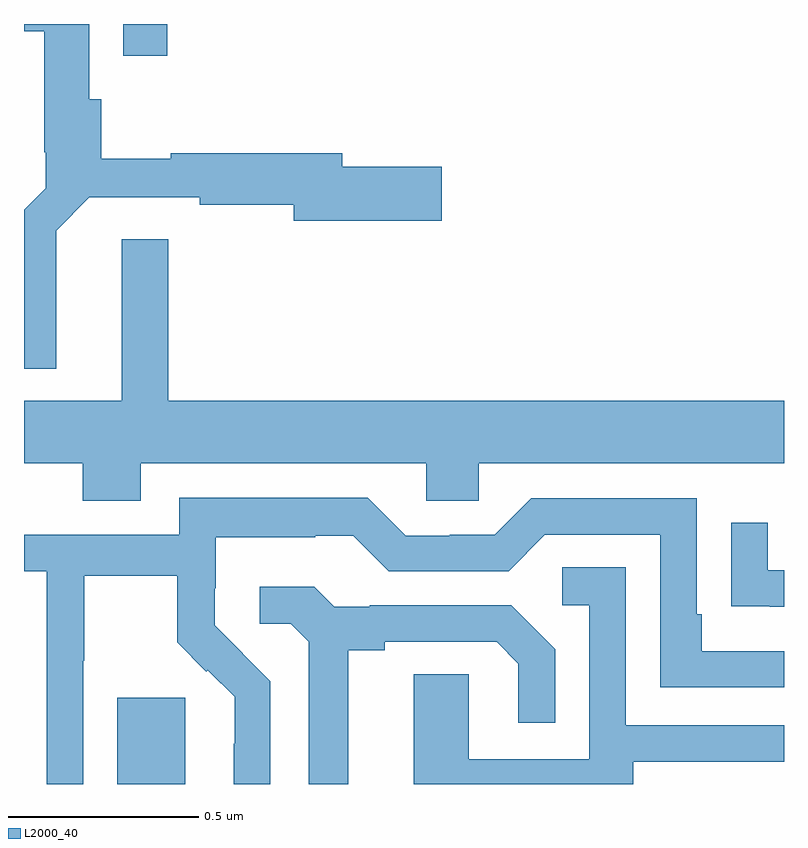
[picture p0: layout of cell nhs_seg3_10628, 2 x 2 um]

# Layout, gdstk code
import gdstk
lib = gdstk.Library(unit=1e-6, precision=1e-09)
def R(c, l, rs):  # rectangles x0, y0, x1, y1
    for r in rs: c.add(gdstk.rectangle(r[:2], r[2:], *l))
def P(c, l, *ps):  # polygons
    for p in ps: c.add(gdstk.Polygon(p, *l))
L2000_40 = (2000, 40)

nhs_seg3_10628 = lib.new_cell('nhs_seg3_10628')
R(nhs_seg3_10628, L2000_40, [(243.245,705.4,243.424,705.627), (243.261,707.316,243.377,707.4)])
P(nhs_seg3_10628, L2000_40, [(243.085,706.856),(243.172,706.944),(243.463,706.944),(243.463,706.924),(243.71,706.924),(243.71,706.882),(244.099,706.882),(244.099,707.024),(243.838,707.024),(243.838,707.06),(243.386,707.06),(243.386,707.045),(243.203,707.045),(243.203,707.202),(243.172,707.202),(243.172,707.4),(243,707.4),(243,707.381),(243.053,707.381),(243.053,707.062),(243.057,707.062),(243.057,706.968),(243,706.911),(243,706.493),(243.085,706.493)],
  [(243.307,706.244),(244.059,706.244),(244.059,706.146),(244.197,706.146),(244.197,706.244),(245,706.244),(245,706.408),(243.38,706.408),(243.38,706.834),(243.257,706.834),(243.257,706.408),(243,706.408),(243,706.244),(243.155,706.244),(243.155,706.145),(243.307,706.145)],
  [(243.156,705.724),(243.159,705.724),(243.159,705.948),(243.403,705.948),(243.403,705.773),(243.48,705.696),(243.483,705.699),(243.554,705.629),(243.554,705.506),(243.552,705.506),(243.552,705.4),(243.648,705.4),(243.648,705.67),(243.575,705.743),(243.576,705.744),(243.502,705.818),(243.502,705.915),(243.504,705.915),(243.504,706.049),(243.767,706.049),(243.767,706.053),(243.867,706.053),(243.96,705.96),(244.275,705.96),(244.371,706.056),(244.674,706.056),(244.674,705.654),(245,705.654),(245,705.75),(244.783,705.75),(244.783,705.847),(244.77,705.847),(244.77,706.152),(244.335,706.152),(244.239,706.056),(244.121,706.056),(244.121,706.053),(244.005,706.053),(243.905,706.153),(243.408,706.153),(243.408,706.056),(243,706.056),(243,705.96),(243.06,705.96),(243.06,705.4),(243.156,705.4)],
  [(245,705.963),(244.957,705.963),(244.957,706.087),(244.861,706.087),(244.861,705.868),(244.963,705.868),(244.963,705.867),(245,705.867)],
  [(244.603,705.459),(245,705.459),(245,705.555),(244.584,705.555),(244.584,705.971),(244.416,705.971),(244.416,705.87),(244.488,705.87),(244.488,705.465),(244.17,705.465),(244.17,705.689),(244.025,705.689),(244.025,705.4),(244.603,705.4)],
  [(243.853,705.752),(243.949,705.752),(243.949,705.774),(244.244,705.774),(244.301,705.717),(244.301,705.561),(244.398,705.561),(244.398,705.754),(244.282,705.87),(243.91,705.87),(243.91,705.867),(243.816,705.867),(243.764,705.919),(243.621,705.919),(243.621,705.822),(243.702,705.822),(243.749,705.775),(243.749,705.4),(243.853,705.4)])

lib.write_gds('nhs_seg3_10628.gds')
